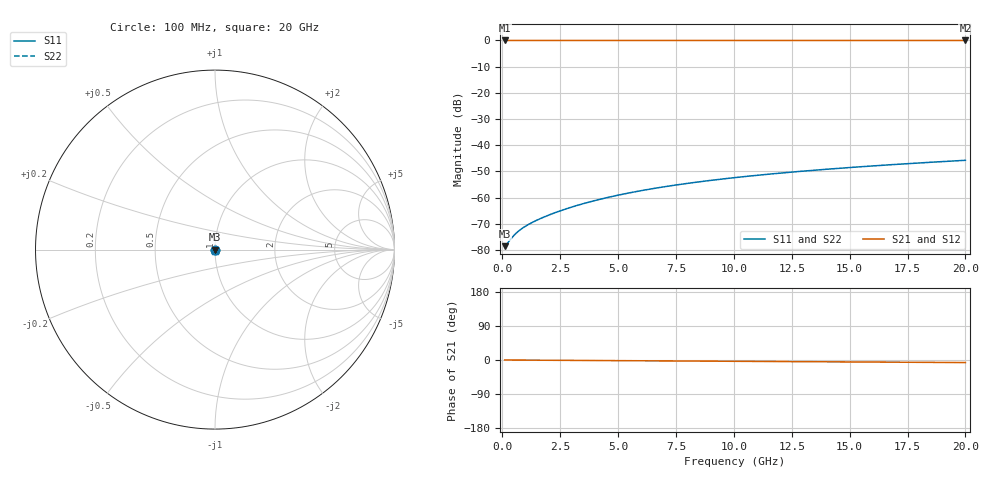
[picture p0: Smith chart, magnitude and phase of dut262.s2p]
! Touchstone file exported from HFSS 2026.1.0
!  File:  C:/ffzhzh/LocalFiles/Ansys_Project_Files/temp_train_TSV_262_1782993146_41620.aedt
!  Generated:  07:53:42 PM Jul  2, 2026
!  Design:  TSV
!  Project:  temp_train_TSV_262_1782993146_41620
! Variables:
!  h_bsmrdl = 2um
!  h_ox = 20um
!  h_rdl = 5um
!  h_sub = 67.63um
!  h_tmrdl = 5um
!  h_tsv = 67.63um
!  h_via = 3um
!  l_bsmrdl = 300um
!  l_sub = 419.68um
!  l_tmrdl = 200um
!  m_sub = 200um
!  pitch = 37.93um
!  r_tsv = 9.84um
!  s_tmrdl = 10um
!  w_bsmrdl = 18um
!  w_sub = 500um
!  w_tmrdl = 12um
!  x_tsv_center1 = 206um
!  x_tsv_center2 = 524um
!  x_tsv_center3 = 736um
!  x_tsv_center4 = 1054um
!  x_tsv_center5 = 1266um
!  x_tsv_center6 = 1584um
# GHz S MA R 50.000000
! Terminal data exported
! Port[1] = TSV1_1_T1
! Port[2] = TSV1_1_T2
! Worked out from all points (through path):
!   200 points, 100 MHz to 20 GHz, reference 50 ohm
!   highest |S21| = 0.00 dB at 100 MHz (marker M1); lowest = 0.0 dB at 20 GHz (marker M2)
!   lowest |S11| = -78.6 dB at 100 MHz (marker M3), VSWR 1.00, Z = 50 + j0.00141 ohm
!   |S11| at or under -10 dB: start of sweep to end of sweep
!   |S22| runs from -78.6 to -45.8 dB; largest |S21 - S12| = 2e-15
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0.1  0.000118 6.9  0.9999 -0.0  0.9999 -0.0  0.000118 6.9
! Gamma 0 0 0 0
! Port Impedance 50 0 50 0
0.2  0.0001308 11.3  0.9999 -0.1  0.9999 -0.1  0.0001308 11.3
0.4  0.0001684 11.6  0.9998 -0.1  0.9998 -0.1  0.0001684 11.6
0.5  0.0001888 9.1  0.9998 -0.2  0.9998 -0.2  0.0001888 9.1
0.6  0.0002089 5.7  0.9998 -0.2  0.9998 -0.2  0.0002089 5.7
0.7  0.0002284 2.0  0.9998 -0.2  0.9998 -0.2  0.0002285 2.0
0.9  0.0002656 -5.6  0.9997 -0.3  0.9997 -0.3  0.0002656 -5.6
1.2  0.0003187 -15.9  0.9997 -0.4  0.9997 -0.4  0.0003187 -15.9
1.7  0.0004068 -29.0  0.9996 -0.6  0.9996 -0.6  0.0004068 -29.0
2.2  0.0004993 -38.2  0.9996 -0.8  0.9996 -0.8  0.0004994 -38.2
2.8  0.0006179 -45.8  0.9996 -1.0  0.9996 -1.0  0.000618 -45.8
3.5  0.0007659 -52.0  0.9995 -1.2  0.9995 -1.2  0.000766 -52.0
4.2  0.0009228 -56.4  0.9995 -1.4  0.9995 -1.4  0.0009229 -56.4
5  0.001111 -60.3  0.9994 -1.7  0.9994 -1.7  0.001111 -60.3
5.9  0.001331 -63.6  0.9994 -2.0  0.9994 -2.0  0.001331 -63.6
6.8  0.001558 -66.4  0.9993 -2.3  0.9993 -2.3  0.001558 -66.4
8.4  0.001971 -70.2  0.9992 -2.9  0.9992 -2.9  0.001972 -70.2
10.1  0.00242 -73.4  0.9992 -3.4  0.9992 -3.4  0.002421 -73.3
11.7  0.002848 -75.7  0.9991 -4.0  0.9991 -4.0  0.002849 -75.7
13.4  0.003308 -77.9  0.999 -4.6  0.999 -4.6  0.003309 -77.8
16.7  0.004216 -81.1  0.9989 -5.7  0.9989 -5.7  0.004216 -81.1
20  0.005148 -83.6  0.9988 -6.8  0.9988 -6.8  0.005148 -83.6
